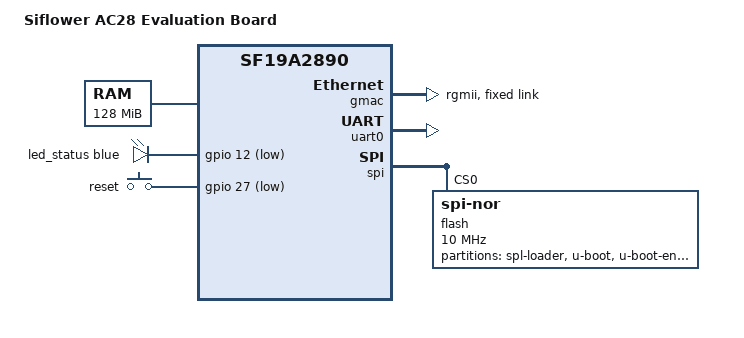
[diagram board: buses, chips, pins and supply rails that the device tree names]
/dts-v1/;
#include <dt-bindings/input/input.h>
#include <dt-bindings/leds/common.h>
#include "sf19a2890.dtsi"

/ {
	model = "Siflower AC28 Evaluation Board";
	compatible = "siflower,ac28", "siflower,sf19a2890";

	aliases {
		led-boot = &led_status;
		led-failsafe = &led_status;
		led-running = &led_status;
		led-upgrade = &led_status;
	};

	chosen {
		stdout-path = "serial0:115200n8";
	};

	memory@0 {
		device_type = "memory";
		reg = <0x0 0x8000000>;
	};

	leds {
		compatible = "gpio-leds";

		led_status: status {
			function = LED_FUNCTION_STATUS;
			color = <LED_COLOR_ID_BLUE>;
			gpios = <&gpio 12 GPIO_ACTIVE_LOW>;
		};
	};

	keys {
		compatible = "gpio-keys";

		reset {
			label = "reset";
			gpios = <&gpio 27 GPIO_ACTIVE_LOW>;
			linux,code = <KEY_RESTART>;
		};
	};
};

&gmac {
	status = "okay";
	phy-mode = "rgmii";
	/* not quite right here... */
	snps,ps-speed = <1000>;
	nvmem-cells = <&rgmii_delay_factory_b2>;
	nvmem-cell-names = "rgmii-delay";
	fixed-link {
		speed = <1000>;
		full-duplex;
		pause;
	};

	mdio {
		
	};
};

&uart0 {
	status = "okay";
};

&spi {
	status = "okay";
	flash@0 {
		compatible = "jedec,spi-nor";
		reg = <0>;	/* chip select */
		spi-max-frequency = <10000000>;

		#address-cells = <1>;
		#size-cells = <1>;

		partition@0 {
			label = "spl-loader";
			reg = <0x0 0x20000>; /* 128k */
			read-only;
		};

		partition@20000 {
			label = "u-boot";
			reg = <0x20000 0x60000>; /* 384k */
		};

		partition@80000 {
			label = "u-boot-env";
			reg = <0x80000 0x10000>; /* 64k */
		};

		factory:partition@90000 {
			label = "factory";
			reg = <0x90000 0x10000>; /* 64k */

			nvmem-layout {
				compatible = "fixed-layout";
				#address-cells = <1>;
				#size-cells = <1>;

				rgmii_delay_factory_b2: rgmii-delay@b2 {
					reg = <0xb2 0x4>;
				};
			};
		};

		partition@a0000 {
			label = "firmware";
			reg = <0xa0000 0x0>; /* 640k- */
		};
	};
};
